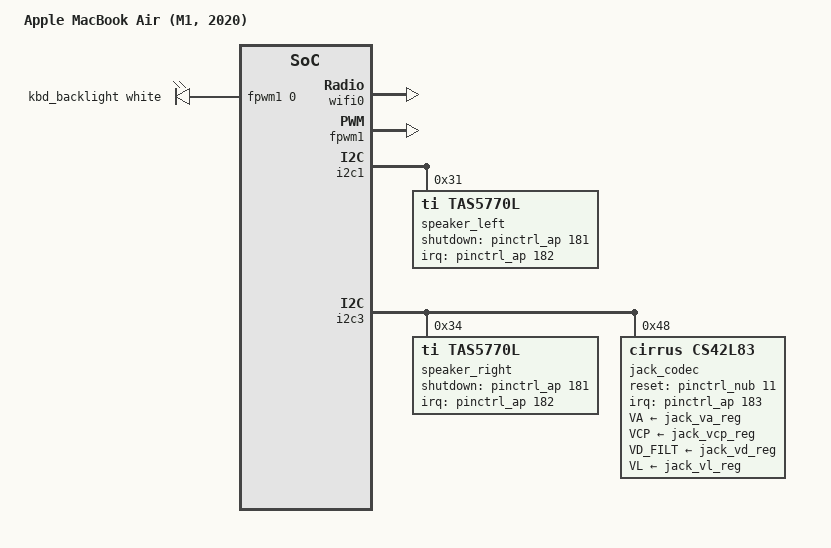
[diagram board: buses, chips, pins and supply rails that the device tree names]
// SPDX-License-Identifier: GPL-2.0+ OR MIT
/*
 * Apple MacBook Air (M1, 2020)
 *
 * target-type: J313
 *
 * Copyright The Asahi Linux Contributors
 */

/dts-v1/;

#include "t8103.dtsi"
#include "t8103-jxxx.dtsi"
#include <dt-bindings/leds/common.h>

/ {
	compatible = "apple,j313", "apple,t8103", "apple,arm-platform";
	model = "Apple MacBook Air (M1, 2020)";
	chassis-type = "laptop";

	led-controller {
		compatible = "pwm-leds";
		led-0 {
			pwms = <&fpwm1 0 40000>;
			label = "kbd_backlight";
			function = LED_FUNCTION_KBD_BACKLIGHT;
			color = <LED_COLOR_ID_WHITE>;
			max-brightness = <255>;
			default-state = "keep";
		};
	};
};

&bluetooth0 {
	brcm,board-type = "apple,shikoku";
};

&wifi0 {
	brcm,board-type = "apple,shikoku";
};

&fpwm1 {
	status = "okay";
};

/*
 * Provide labels for the USB type C ports.
 */

&typec0 {
	label = "USB-C Left-back";
};

&typec1 {
	label = "USB-C Left-front";
};

/* Audio codecs */
&i2c1 {
	status = "okay";

	speaker_left: codec@31 {
		compatible = "ti,tas5770l";
		reg = <0x31>;
		interrupts-extended = <&pinctrl_ap 182 IRQ_TYPE_LEVEL_LOW>;
		shutdown-gpios = <&pinctrl_ap 181 GPIO_ACTIVE_HIGH>;
		#sound-dai-cells = <0>;
		sound-name-prefix = "Left";
		ti,imon-slot-no = <0>;
		ti,vmon-slot-no = <2>;
	};
};

&i2c3 {
	status = "okay";

	speaker_right: codec@34 {
		compatible = "ti,tas5770l";
		reg = <0x34>;
		interrupts-extended = <&pinctrl_ap 182 IRQ_TYPE_LEVEL_LOW>;
		shutdown-gpios = <&pinctrl_ap 181 GPIO_ACTIVE_HIGH>;
		#sound-dai-cells = <0>;
		sound-name-prefix = "Right";
		ti,imon-slot-no = <4>;
		ti,vmon-slot-no = <6>;
	};

	jack_codec: codec@48 {
		compatible = "cirrus,cs42l83";
		reg = <0x48>;
		VA-supply = <&jack_va_reg>;
		VCP-supply = <&jack_vcp_reg>;
		VD_FILT-supply = <&jack_vd_reg>;
		VL-supply = <&jack_vl_reg>;
		VP-supply = <&jack_vp_reg>;

		interrupts-extended = <&pinctrl_ap 183 IRQ_TYPE_LEVEL_LOW>;
		reset-gpios = <&pinctrl_nub 11 GPIO_ACTIVE_HIGH>;

		#sound-dai-cells = <0>;
		sound-name-prefix = "Jack";
		cirrus,ts-inv = <1>;
	};
};

/ {
	sound: sound {
		compatible = "apple,j313-macaudio";
		model = "MacBook Air J313";

		#address-cells = <1>;
		#size-cells = <0>;

		headphone-dai-link {
			link-name = "Headphone Jack";

			codec {
				sound-dai = <&jack_codec>;
			};

			cpu {
				sound-dai = <&mca 2>;
			};
		};

		speaker-dai-link {
			dai-tdm-idle-mode-0 = "zero";
			dai-tdm-idle-mode-1 = "zero";

			link-name = "Speakers";

			codec {
				sound-dai = <&speaker_left>, <&speaker_right>;
			};

			cpu {
				sound-dai = <&mca 0>, <&mca 1>;
			};
		};
	};
};

#include "hwmon-laptop.dtsi"
